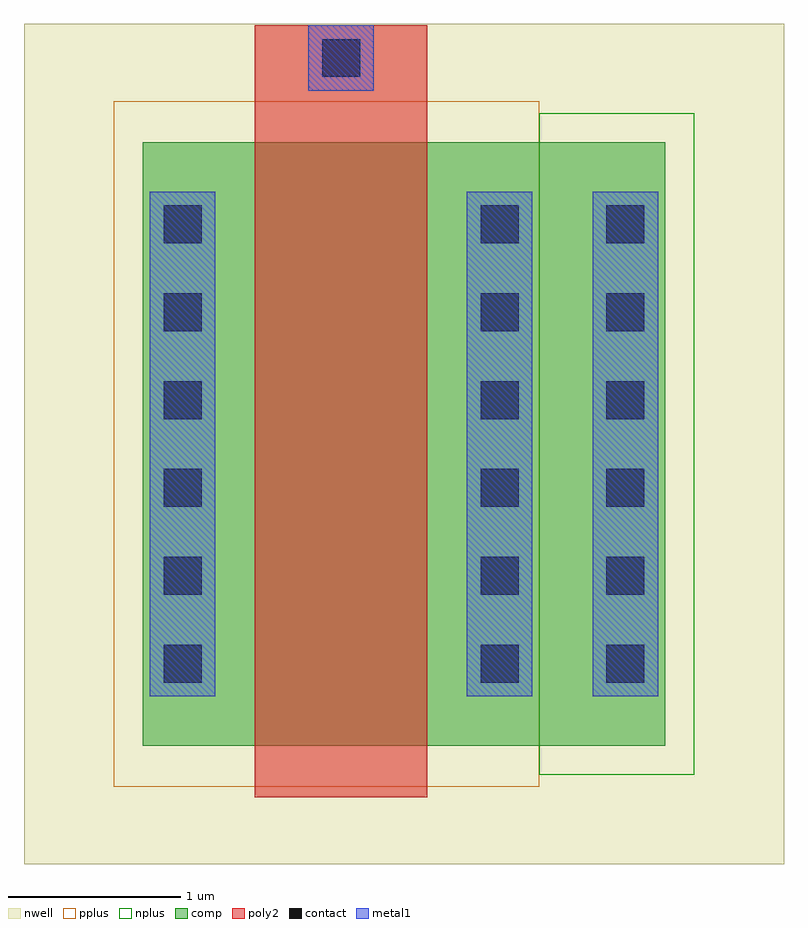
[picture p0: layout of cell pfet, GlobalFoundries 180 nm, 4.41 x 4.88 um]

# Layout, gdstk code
import gdstk
lib = gdstk.Library(unit=1e-6, precision=5e-09)
def R(c, l, rs):  # rectangles x0, y0, x1, y1
    for r in rs: c.add(gdstk.rectangle(r[:2], r[2:], *l))
def A(c, l, x, y, w, h, nx, ny, dx, dy):  # array of equal rectangles
    R(c, l, [(x+i*dx, y+j*dy, x+i*dx+w, y+j*dy+h) for i in range(nx) for j in range(ny)])
nwell = (21, 0)
comp = (22, 0)
poly2 = (30, 0)
pplus = (31, 0)
nplus = (32, 0)
contact = (33, 0)
metal1 = (34, 0)

pfet = lib.new_cell('pfet')
R(pfet, nwell, [(-1.15,-0.69,3.26,4.19)])
R(pfet, comp, [(-0.46,0,0,3.5), (0,0,1.38,3.5), (1.38,0,1.84,3.5), (1.84,0,2.57,3.5)])
R(pfet, poly2, [(0.19,-0.3,1.19,3.8), (0.19,3.8,1.19,4.18)])
R(pfet, pplus, [(-0.63,-0.24,1.84,3.74)])
R(pfet, nplus, [(1.84,-0.17,2.74,3.67)])
A(pfet, contact, -0.34, 0.365, 0.22, 0.22, 1, 6, 0, 0.51)
A(pfet, contact, 1.5, 0.365, 0.22, 0.22, 1, 6, 0, 0.51)
A(pfet, contact, 2.23, 0.365, 0.22, 0.22, 1, 6, 0, 0.51)
R(pfet, contact, [(0.58,3.88,0.8,4.1)])
R(pfet, metal1, [(-0.42,0.285,-0.04,3.215), (1.42,0.285,1.8,3.215), (2.15,0.285,2.53,3.215), (0.5,3.8,0.88,4.18)])

lib.write_gds('pfet.gds')
